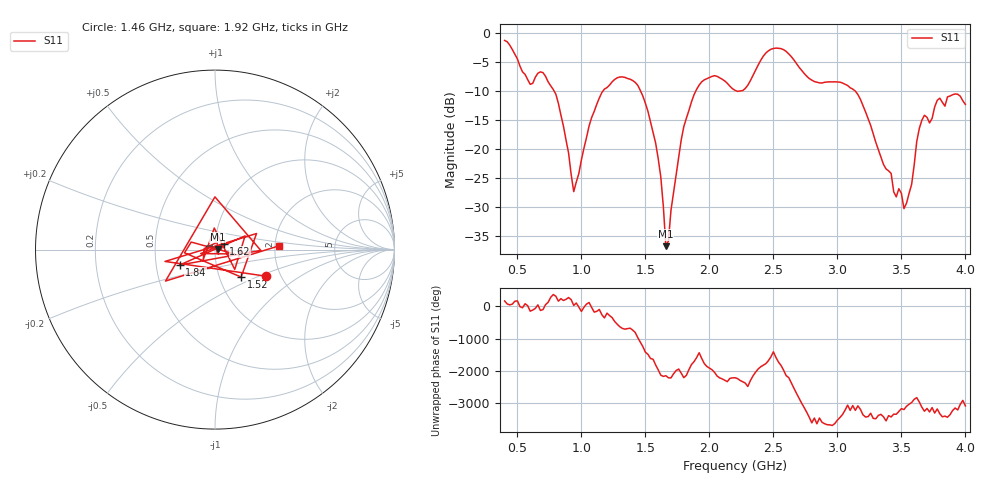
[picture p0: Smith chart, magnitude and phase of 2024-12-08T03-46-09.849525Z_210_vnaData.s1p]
!Created with skrf (http://scikit-rf.org).
# Hz S RI R 50.0
!freq ReS11 ImS11
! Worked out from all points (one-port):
!   181 points, 400 MHz to 4 GHz, reference 50 ohm
!   lowest |S11| = -36.7 dB at 1.66 GHz (marker M1), VSWR 1.03, Z = 51.4 + j0.376 ohm
!   |S11| at or under -10 dB: 786.7 MHz to 1.169 GHz (382 MHz wide, 39.1 % of centre); 1.462 GHz to 1.894 GHz (431.8 MHz wide, 25.7 % of centre); 3.139 GHz to end of sweep (the widest 3 of 4)
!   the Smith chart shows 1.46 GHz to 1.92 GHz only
!   S11 on the Smith chart (normalised r, x): 1.46 GHz: 1.68, -0.55; 1.52 GHz: 1.27, -0.41; 1.62 GHz: 1.10, +0.07; 1.84 GHz: 0.66, -0.12; 1.92 GHz: 2.10, +0.10
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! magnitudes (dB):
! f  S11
! 400 MHz  -1.3
! 600 MHz  -8.8
! 720 MHz  -7.5
! 860 MHz  -16.1
! 940 MHz  -27.3
! 1.12 GHz  -12.3
! 1.3 GHz  -7.6
! 1.46 GHz  -9.9
! 1.52 GHz  -13.5
! 1.62 GHz  -24.8
! 1.66 GHz  -36.7
! 1.68 GHz  -35.8
! 1.76 GHz  -21.3
! 1.84 GHz  -13.3
! 1.92 GHz  -9.0
! 2.2 GHz  -9.9
! 2.48 GHz  -2.8
! 2.66 GHz  -4.6
! 3.1 GHz  -9.4
! 3.18 GHz  -11.4
! 3.46 GHz  -28.2
! 3.48 GHz  -26.8
! 3.52 GHz  -30.3
! 3.56 GHz  -27.6
! 3.64 GHz  -16.4
! 3.68 GHz  -14.2
! 3.92 GHz  -10.5
! 4 GHz  -12.3
